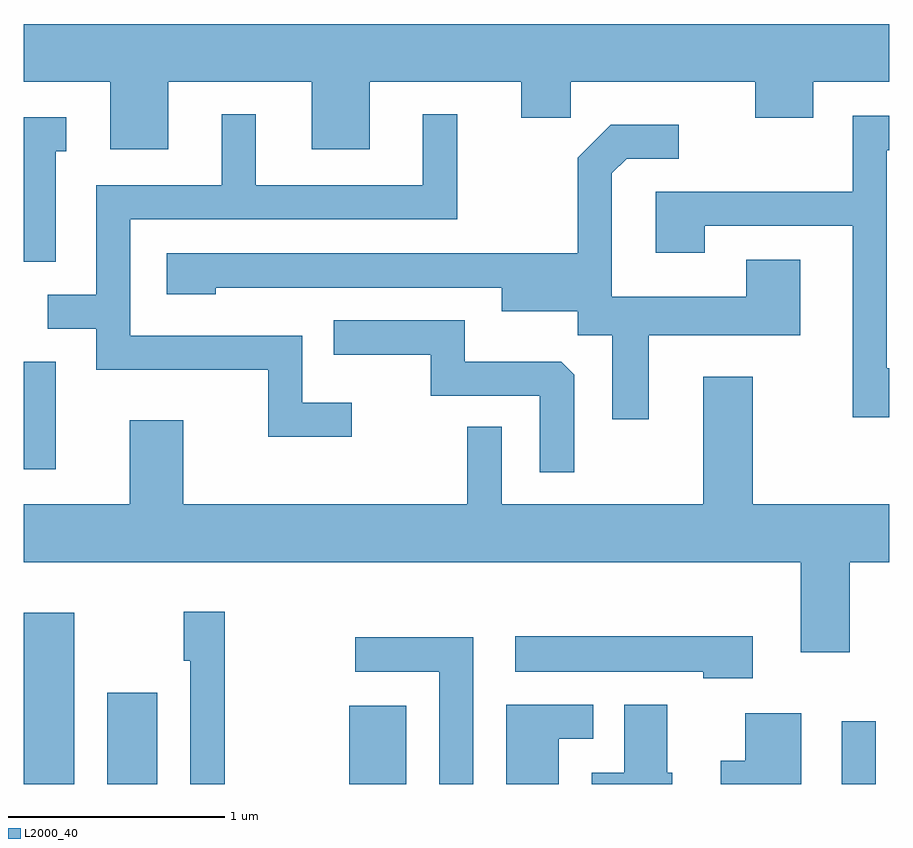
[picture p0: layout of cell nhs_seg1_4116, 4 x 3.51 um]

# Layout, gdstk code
import gdstk
lib = gdstk.Library(unit=1e-6, precision=1e-09)
def R(c, l, rs):  # rectangles x0, y0, x1, y1
    for r in rs: c.add(gdstk.rectangle(r[:2], r[2:], *l))
def P(c, l, *ps):  # polygons
    for p in ps: c.add(gdstk.Polygon(p, *l))
L2000_40 = (2000, 40)

nhs_seg1_4116 = lib.new_cell('nhs_seg1_4116')
R(nhs_seg1_4116, L2000_40, [(309.611,849.712,309.844,850.504), (309.996,849.712,310.229,850.134), (311.116,849.712,311.379,850.074), (313.391,849.712,313.549,850.003), (309.611,851.166,309.759,851.664)])
P(nhs_seg1_4116, L2000_40, [(310.279,852.956),(310.941,852.956),(310.941,852.646),(311.209,852.646),(311.209,852.956),(311.911,852.956),(311.911,852.791),(312.139,852.791),(312.139,852.956),(312.991,852.956),(312.991,852.791),(313.259,852.791),(313.259,852.956),(313.611,852.956),(313.611,853.224),(309.611,853.224),(309.611,852.956),(310.011,852.956),(310.011,852.646),(310.279,852.646)],
  [(311.128,851.474),(310.899,851.474),(310.899,851.784),(310.104,851.784),(310.104,852.321),(311.614,852.321),(311.614,852.808),(311.456,852.808),(311.456,852.479),(310.684,852.479),(310.684,852.808),(310.526,852.808),(310.526,852.479),(309.946,852.479),(309.946,851.974),(309.723,851.974),(309.723,851.816),(309.946,851.816),(309.946,851.626),(310.741,851.626),(310.741,851.316),(311.128,851.316)],
  [(313.611,851.634),(313.599,851.634),(313.599,852.641),(313.611,852.641),(313.611,852.799),(313.441,852.799),(313.441,852.449),(312.531,852.449),(312.531,852.166),(312.759,852.166),(312.759,852.291),(313.441,852.291),(313.441,851.406),(313.611,851.406)],
  [(309.759,852.636),(309.808,852.636),(309.808,852.794),(309.611,852.794),(309.611,852.126),(309.759,852.126)],
  [(312.499,851.786),(313.199,851.786),(313.199,852.134),(312.951,852.134),(312.951,851.964),(312.329,851.964),(312.329,852.534),(312.397,852.601),(312.638,852.601),(312.638,852.759),(312.324,852.759),(312.171,852.607),(312.171,852.164),(310.271,852.164),(310.271,851.976),(310.499,851.976),(310.499,852.006),(311.821,852.006),(311.821,851.896),(312.171,851.896),(312.171,851.786),(312.331,851.786),(312.331,851.398),(312.499,851.398)],
  [(312.154,851.604),(312.094,851.664),(311.649,851.664),(311.649,851.854),(311.043,851.854),(311.043,851.696),(311.491,851.696),(311.491,851.506),(311.996,851.506),(311.996,851.153),(312.154,851.153)],
  [(313.429,850.736),(313.611,850.736),(313.611,851.004),(312.979,851.004),(312.979,851.594),(312.751,851.594),(312.751,851.004),(311.819,851.004),(311.819,851.363),(311.661,851.363),(311.661,851.004),(310.349,851.004),(310.349,851.394),(310.101,851.394),(310.101,851.004),(309.611,851.004),(309.611,850.736),(313.201,850.736),(313.201,850.321),(313.429,850.321)],
  [(310.539,850.509),(310.351,850.509),(310.351,850.281),(310.381,850.281),(310.381,849.712),(310.539,849.712)],
  [(312.979,850.394),(311.883,850.394),(311.883,850.231),(312.751,850.231),(312.751,850.201),(312.979,850.201)],
  [(311.689,850.389),(311.143,850.389),(311.143,850.231),(311.531,850.231),(311.531,849.712),(311.689,849.712)],
  [(312.609,849.764),(312.584,849.764),(312.584,850.079),(312.386,850.079),(312.386,849.764),(312.236,849.764),(312.236,849.712),(312.609,849.712)],
  [(312.084,849.921),(312.243,849.921),(312.243,850.079),(311.841,850.079),(311.841,849.712),(312.084,849.712)],
  [(313.204,850.039),(312.946,850.039),(312.946,849.819),(312.831,849.819),(312.831,849.712),(313.204,849.712)])

lib.write_gds('nhs_seg1_4116.gds')
